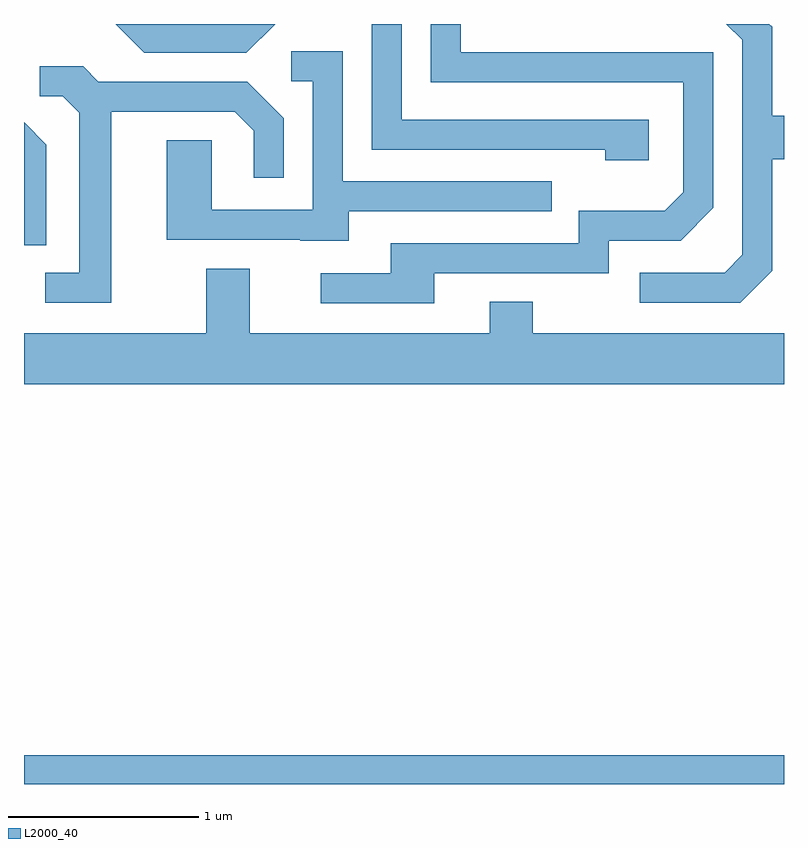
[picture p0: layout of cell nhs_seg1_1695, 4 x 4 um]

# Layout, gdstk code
import gdstk
lib = gdstk.Library(unit=1e-6, precision=1e-09)
def R(c, l, rs):  # rectangles x0, y0, x1, y1
    for r in rs: c.add(gdstk.rectangle(r[:2], r[2:], *l))
def P(c, l, *ps):  # polygons
    for p in ps: c.add(gdstk.Polygon(p, *l))
L2000_40 = (2000, 40)

nhs_seg1_1695 = lib.new_cell('nhs_seg1_1695')
R(nhs_seg1_1695, L2000_40, [(237.611,879.712,241.611,879.864)])
P(nhs_seg1_1695, L2000_40, [(238.933,883.712),(237.611,883.712),(237.611,883.711),(238.094,883.711),(238.244,883.561),(238.782,883.561)],
  [(240.899,883.209),(239.599,883.209),(239.599,883.712),(239.441,883.712),(239.441,883.051),(240.671,883.051),(240.671,882.996),(240.899,882.996)],
  [(239.769,882.401),(240.689,882.401),(240.689,882.571),(241.067,882.571),(241.239,882.744),(241.239,883.564),(239.909,883.564),(239.909,883.712),(239.751,883.712),(239.751,883.406),(241.081,883.406),(241.081,882.827),(240.984,882.729),(240.531,882.729),(240.531,882.559),(239.541,882.559),(239.541,882.399),(239.173,882.399),(239.173,882.241),(239.769,882.241)],
  [(241.549,882.414),(241.549,883.001),(241.611,883.001),(241.611,883.229),(241.549,883.229),(241.549,883.697),(241.534,883.712),(241.308,883.712),(241.391,883.629),(241.391,882.497),(241.299,882.404),(240.853,882.404),(240.853,882.246),(241.382,882.246)],
  [(239.319,882.726),(240.388,882.726),(240.388,882.884),(239.289,882.884),(239.289,883.569),(239.018,883.569),(239.018,883.411),(239.131,883.411),(239.131,882.734),(238.599,882.734),(238.599,883.099),(238.361,883.099),(238.361,882.576),(239.065,882.576),(239.065,882.571),(239.319,882.571)],
  [(238.069,883.251),(238.719,883.251),(238.821,883.149),(238.821,882.903),(238.979,882.903),(238.979,883.217),(238.787,883.409),(238.002,883.409),(237.922,883.489),(237.693,883.489),(237.693,883.331),(237.814,883.331),(237.901,883.244),(237.901,882.404),(237.723,882.404),(237.723,882.246),(238.069,882.246)],
  [(237.729,883.077),(237.611,883.195),(237.611,882.548),(237.729,882.548)],
  [(241.611,882.084),(240.289,882.084),(240.289,882.249),(240.061,882.249),(240.061,882.084),(238.799,882.084),(238.799,882.424),(238.571,882.424),(238.571,882.084),(237.611,882.084),(237.611,881.816),(241.611,881.816)])

lib.write_gds('nhs_seg1_1695.gds')
